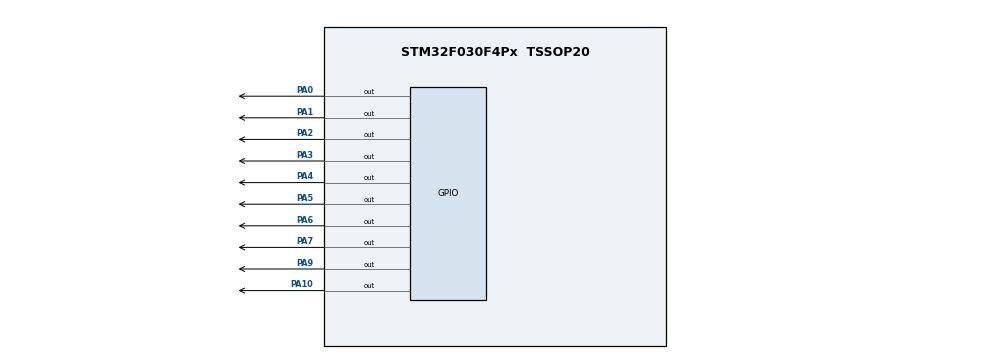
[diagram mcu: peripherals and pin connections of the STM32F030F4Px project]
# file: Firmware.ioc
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Mcu.Family=STM32F0
Mcu.Name=STM32F030F4Px
Mcu.Package=TSSOP20
PA0.Signal=GPIO_Output
PA1.Signal=GPIO_Output
PA10.Signal=GPIO_Output
PA13.Mode=Serial_Wire
PA13.Signal=SYS_SWDIO
PA14.Mode=Serial_Wire
PA14.Signal=SYS_SWCLK
PA2.Signal=GPIO_Output
PA3.Signal=GPIO_Output
PA4.Signal=GPIO_Output
PA5.Signal=GPIO_Output
PA6.Signal=GPIO_Output
PA7.Signal=GPIO_Output
PA9.Signal=GPIO_Output
ProjectManager.HeapSize=0x200
ProjectManager.StackSize=0x400
ProjectManager.TargetToolchain=Makefile
RCC.AHBCLKDivider=RCC_SYSCLK_DIV4
RCC.AHBFreq_Value=2000000
RCC.APB1CLKDivider=RCC_HCLK_DIV16
RCC.APB1Freq_Value=125000
RCC.APB1TimFreq_Value=250000
RCC.HCLKFreq_Value=2000000
board=custom

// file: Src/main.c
/* USER CODE BEGIN Header */
/**
  ******************************************************************************
  * @file           : main.c
  * @brief          : Main program body
  ******************************************************************************
  * @attention
  *
  * <h2><center>&copy; Copyright (c) 2019 STMicroelectronics.
  * All rights reserved.</center></h2>
  *
  * This software component is licensed by ST under BSD 3-Clause license,
  * the "License"; You may not use this file except in compliance with the
  * License. You may obtain a copy of the License at:
  *                        opensource.org/licenses/BSD-3-Clause
  *
  ******************************************************************************
  */
/* USER CODE END Header */

#include "main.h"

/* USER CODE BEGIN PM */
//#define update_IO(t) \

/* USER CODE END PM */

/* USER CODE BEGIN PV */
int8_t bright[256]=
{0,3,6,9,12,15,18,21,25,28,31,34,37,40,43,46,50,53,56,59,62,65,68,71,75,78,81,84,87,90,93,96,100,96,93,90,87,84,81,78,75,71,68,65,62,59,56,53,50,46,43,40,37,34,31,28,25,21,18,15,12,9,6,3,0,0,0,0,0,0,0,0,0,0,0,0,0,0,0,0,0,0,0,0,0,0,0,0,0,0,0,0,0,0,0,0,0,0,0,0,0,0,0,0,0,0,0,0,0,0,0,0,0,0,0,0,0,0,0,0,0,0,0,0,0,0,0,0,0,0,0,0,0,0,0,0,0,0,0,0,0,0,0,0,0,0,0,0,0,0,0,0,0,0,0,0,0,0,0,0,0,0,0,0,0,0,0,0,0,0,0,0,0,0,0,0,0,0,0,0,0,0,0,0,0,0,0,0,0,0,0,0,0,0,0,0,0,0,0,0,0,0,0,0,0,0,0,0,0,0,0,0,0,0,0,0,0,0,0,0,0,0,0,0,0,0,0,0,0,0,0,0,0,0,0,0,0,0,0,0,0,0,0,0,0,0,0,0,0,0,0,0,0,0,0,0};
/* USER CODE END PV */

void SystemClock_Config(void);
static void MX_GPIO_Init(void);
/* USER CODE BEGIN PFP */
void update_io(int t);
/* USER CODE END PFP */

/* USER CODE BEGIN 0 */
void update_io(int t)
{
  for(int i=0;i<150;i++)
  {
    uint32_t io_val = 0;

    if(bright[(t+256)%256]>i) io_val |= GPIO_PIN_0;
    if(bright[(t+235)%256]>i) io_val |= GPIO_PIN_1;
    if(bright[(t+214)%256]>i) io_val |= GPIO_PIN_2;
    if(bright[(t+193)%256]>i) io_val |= GPIO_PIN_3;
    if(bright[(t+171)%256]>i) io_val |= GPIO_PIN_4;
    if(bright[(t+150)%256]>i) io_val |= GPIO_PIN_5;
    if(bright[(t+129)%256]>i) io_val |= GPIO_PIN_6;
    if(bright[(t+107)%256]>i) io_val |= GPIO_PIN_7;
    if(bright[(t+86)%256]>i) io_val |= GPIO_PIN_9;
    if(bright[(t+65)%256]>i) io_val |= GPIO_PIN_10;
    GPIOA->ODR = io_val;
  }
}
/* USER CODE END 0 */

int main(void)
{

  /* MCU Configuration--------------------------------------------------------*/

  /* Reset of all peripherals, Initializes the Flash interface and the Systick. */
  HAL_Init();

  /* Configure the system clock */
  SystemClock_Config();

  /* Initialize all configured peripherals */
  MX_GPIO_Init();

  /* Infinite loop */
  /* USER CODE BEGIN WHILE */
  while (1)
  {
    for(int t=0;t<200;t++)
    {
      update_io(t);
    }
    for(int t=255;t>56;t--)
    {
      update_io(t);
    }

    /* USER CODE END WHILE */

  }
}

void SystemClock_Config(void)
{
  RCC_OscInitTypeDef RCC_OscInitStruct = {0};
  RCC_ClkInitTypeDef RCC_ClkInitStruct = {0};

  /** Initializes the CPU, AHB and APB busses clocks
  */
  RCC_OscInitStruct.OscillatorType = RCC_OSCILLATORTYPE_HSI;
  RCC_OscInitStruct.HSIState = RCC_HSI_ON;
  RCC_OscInitStruct.HSICalibrationValue = RCC_HSICALIBRATION_DEFAULT;
  RCC_OscInitStruct.PLL.PLLState = RCC_PLL_NONE;
  if (HAL_RCC_OscConfig(&RCC_OscInitStruct) != HAL_OK)
  {
    Error_Handler();
  }
  /** Initializes the CPU, AHB and APB busses clocks
  */
  RCC_ClkInitStruct.ClockType = RCC_CLOCKTYPE_HCLK|RCC_CLOCKTYPE_SYSCLK
                              |RCC_CLOCKTYPE_PCLK1;
  RCC_ClkInitStruct.SYSCLKSource = RCC_SYSCLKSOURCE_HSI;
  RCC_ClkInitStruct.AHBCLKDivider = RCC_SYSCLK_DIV4;
  RCC_ClkInitStruct.APB1CLKDivider = RCC_HCLK_DIV16;

  if (HAL_RCC_ClockConfig(&RCC_ClkInitStruct, FLASH_LATENCY_0) != HAL_OK)
  {
    Error_Handler();
  }
}

static void MX_GPIO_Init(void)
{
  GPIO_InitTypeDef GPIO_InitStruct = {0};

  /* GPIO Ports Clock Enable */
  __HAL_RCC_GPIOA_CLK_ENABLE();

  /*Configure GPIO pin Output Level */
  HAL_GPIO_WritePin(GPIOA, GPIO_PIN_0|GPIO_PIN_1|GPIO_PIN_2|GPIO_PIN_3
                          |GPIO_PIN_4|GPIO_PIN_5|GPIO_PIN_6|GPIO_PIN_7
                          |GPIO_PIN_9|GPIO_PIN_10, GPIO_PIN_RESET);

  /*Configure GPIO pins : PA0 PA1 PA2 PA3
                           PA4 PA5 PA6 PA7
                           PA9 PA10 */
  GPIO_InitStruct.Pin = GPIO_PIN_0|GPIO_PIN_1|GPIO_PIN_2|GPIO_PIN_3
                          |GPIO_PIN_4|GPIO_PIN_5|GPIO_PIN_6|GPIO_PIN_7
                          |GPIO_PIN_9|GPIO_PIN_10;
  GPIO_InitStruct.Mode = GPIO_MODE_OUTPUT_PP;
  GPIO_InitStruct.Pull = GPIO_NOPULL;
  GPIO_InitStruct.Speed = GPIO_SPEED_FREQ_LOW;
  HAL_GPIO_Init(GPIOA, &GPIO_InitStruct);

}

void Error_Handler(void)
{
}

/************************ (C) COPYRIGHT STMicroelectronics *****END OF FILE****/
